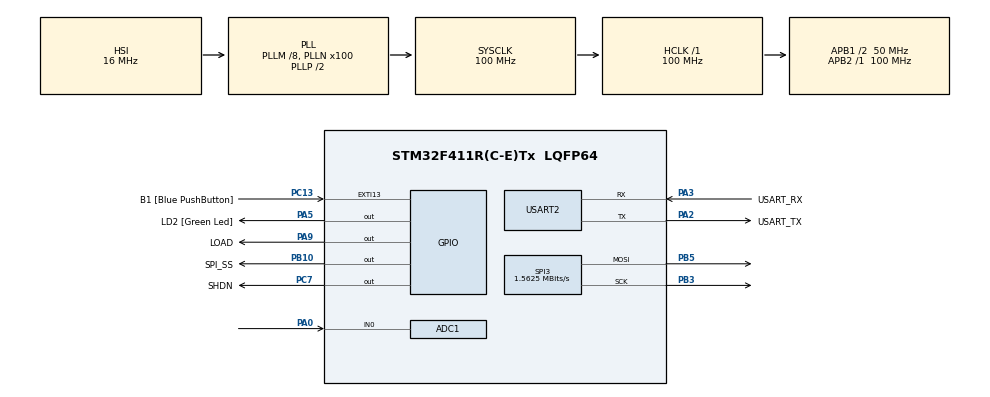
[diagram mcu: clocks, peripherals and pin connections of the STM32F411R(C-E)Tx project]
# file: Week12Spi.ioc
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ADC1.Channel-0\#ChannelRegularConversion=ADC_CHANNEL_0
ADC1.ContinuousConvMode=DISABLE
ADC1.DMAContinuousRequests=ENABLE
ADC1.DiscontinuousConvMode=DISABLE
ADC1.EOCSelection=ADC_EOC_SEQ_CONV
ADC1.ExternalTrigConv=ADC_EXTERNALTRIGCONV_T3_TRGO
ADC1.InjNumberOfConversion=0
ADC1.NbrOfConversion=1
ADC1.NbrOfConversionFlag=1
ADC1.Rank-0\#ChannelRegularConversion=1
ADC1.SamplingTime-0\#ChannelRegularConversion=ADC_SAMPLETIME_3CYCLES
ADC1.ScanConvMode=ENABLE
ADC1.master=1
Dma.ADC1.0.Direction=DMA_PERIPH_TO_MEMORY
Dma.ADC1.0.FIFOMode=DMA_FIFOMODE_DISABLE
Dma.ADC1.0.Instance=DMA2_Stream0
Dma.ADC1.0.MemDataAlignment=DMA_MDATAALIGN_HALFWORD
Dma.ADC1.0.MemInc=DMA_MINC_ENABLE
Dma.ADC1.0.Mode=DMA_CIRCULAR
Dma.ADC1.0.PeriphDataAlignment=DMA_PDATAALIGN_HALFWORD
Dma.ADC1.0.PeriphInc=DMA_PINC_DISABLE
Dma.ADC1.0.Priority=DMA_PRIORITY_LOW
Dma.Request0=ADC1
Mcu.Family=STM32F4
Mcu.Name=STM32F411R(C-E)Tx
Mcu.Package=LQFP64
NVIC.ADC_IRQn=true\:0\:0\:false\:false\:true\:true\:true
NVIC.DMA2_Stream0_IRQn=true\:0\:0\:false\:false\:true\:false\:true
NVIC.PriorityGroup=NVIC_PRIORITYGROUP_0
NVIC.SPI3_IRQn=true\:0\:0\:false\:false\:true\:true\:true
NVIC.TIM1_TRG_COM_TIM11_IRQn=true\:0\:0\:false\:false\:true\:true\:true
PA0-WKUP.Signal=ADCx_IN0
PA13.GPIO_Label=TMS
PA13.Mode=Serial_Wire
PA13.Signal=SYS_JTMS-SWDIO
PA14.GPIO_Label=TCK
PA14.Mode=Serial_Wire
PA14.Signal=SYS_JTCK-SWCLK
PA2.GPIO_Label=USART_TX
PA2.Mode=Asynchronous
PA2.Signal=USART2_TX
PA3.GPIO_Label=USART_RX
PA3.Mode=Asynchronous
PA3.Signal=USART2_RX
PA5.GPIO_Label=LD2 [Green Led]
PA5.Signal=GPIO_Output
PA9.GPIO_Label=LOAD
PA9.PinState=GPIO_PIN_SET
PA9.Signal=GPIO_Output
PB10.GPIO_Label=SPI_SS
PB10.PinState=GPIO_PIN_SET
PB10.Signal=GPIO_Output
PB3.Mode=TX_Only_Simplex_Unidirect_Master
PB3.Signal=SPI3_SCK
PB5.Mode=TX_Only_Simplex_Unidirect_Master
PB5.Signal=SPI3_MOSI
PC13-ANTI_TAMP.GPIO_Label=B1 [Blue PushButton]
PC13-ANTI_TAMP.GPIO_ModeDefaultEXTI=GPIO_MODE_IT_FALLING
PC13-ANTI_TAMP.Signal=GPXTI13
PC14-OSC32_IN.Mode=LSE-External-Oscillator
PC14-OSC32_IN.Signal=RCC_OSC32_IN
PC15-OSC32_OUT.Mode=LSE-External-Oscillator
PC15-OSC32_OUT.Signal=RCC_OSC32_OUT
PC7.GPIO_Label=SHDN
PC7.PinState=GPIO_PIN_SET
PC7.Signal=GPIO_Output
PH0\ -\ OSC_IN.Mode=HSE-External-Clock-Source
PH0\ -\ OSC_IN.Signal=RCC_OSC_IN
PH1\ -\ OSC_OUT.Mode=HSE-External-Clock-Source
PH1\ -\ OSC_OUT.Signal=RCC_OSC_OUT
ProjectManager.HeapSize=0x200
ProjectManager.StackSize=0x400
ProjectManager.TargetToolchain=STM32CubeIDE
RCC.48MHZClocksFreq_Value=50000000
RCC.AHBFreq_Value=100000000
RCC.APB1CLKDivider=RCC_HCLK_DIV2
RCC.APB1Freq_Value=50000000
RCC.APB1TimFreq_Value=100000000
RCC.APB2Freq_Value=100000000
RCC.APB2TimFreq_Value=100000000
RCC.CortexFreq_Value=100000000
RCC.FLatency-AdvancedSettings=FLASH_LATENCY_3
RCC.HCLKFreq_Value=100000000
RCC.HSE_VALUE=8000000
RCC.HSI_VALUE=16000000
RCC.PLLM=8
RCC.PLLN=100
RCC.SYSCLKFreq_VALUE=100000000
RCC.SYSCLKSource=RCC_SYSCLKSOURCE_PLLCLK
RCC.VCOOutputFreq_Value=200000000
SH.ADCx_IN0.0=ADC1_IN0,IN0
SPI3.BaudRatePrescaler=SPI_BAUDRATEPRESCALER_32
SPI3.CLKPolarity=SPI_POLARITY_LOW
SPI3.CalculateBaudRate=1.5625 MBits/s
SPI3.DataSize=SPI_DATASIZE_16BIT
SPI3.Direction=SPI_DIRECTION_2LINES
SPI3.Mode=SPI_MODE_MASTER
SPI3.VirtualType=VM_MASTER
TIM11.Prescaler=100
TIM3.Period=99
TIM3.Prescaler=99
TIM3.TIM_MasterOutputTrigger=TIM_TRGO_UPDATE
USART2.VirtualMode=VM_ASYNC
VP_TIM11_VS_ClockSourceINT.Mode=Enable_Timer
VP_TIM3_VS_ClockSourceINT.Mode=Internal
board=NUCLEO-F411RE

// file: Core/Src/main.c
/* USER CODE BEGIN Header */
/**
 ******************************************************************************
 * @file           : main.c
 * @brief          : Main program body
 ******************************************************************************
 * @attention
 *
 * <h2><center>&copy; Copyright (c) 2021 STMicroelectronics.
 * All rights reserved.</center></h2>
 *
 * This software component is licensed by ST under BSD 3-Clause license,
 * the "License"; You may not use this file except in compliance with the
 * License. You may obtain a copy of the License at:
 *                        opensource.org/licenses/BSD-3-Clause
 *
 ******************************************************************************
 */
/* USER CODE END Header */
#include "main.h"

/* USER CODE BEGIN Includes */
#include <math.h>
/* USER CODE END Includes */

ADC_HandleTypeDef hadc1;
DMA_HandleTypeDef hdma_adc1;

SPI_HandleTypeDef hspi3;

TIM_HandleTypeDef htim3;
TIM_HandleTypeDef htim11;

UART_HandleTypeDef huart2;

/* USER CODE BEGIN PV */
uint16_t ADCin = 0;
uint64_t _micro = 0;
uint16_t dataOut = 0;
uint8_t DACConfig = 0b0011;
float V_high = 3.3;
float V_low = 0;
double f = 1;
float unwrap = 0;
float signal = 0;
double total_time = 0;
uint32_t period = 0;
/* USER CODE END PV */

void SystemClock_Config(void);
static void MX_GPIO_Init(void);
static void MX_DMA_Init(void);
static void MX_USART2_UART_Init(void);
static void MX_SPI3_Init(void);
static void MX_ADC1_Init(void);
static void MX_TIM3_Init(void);
static void MX_TIM11_Init(void);
/* USER CODE BEGIN PFP */
void MCP4922Setup();
void MCP4922SetOutput(uint8_t Config, uint16_t DACOutput);
uint64_t micros();
/* USER CODE END PFP */

int main(void)
{

  /* MCU Configuration--------------------------------------------------------*/

  /* Reset of all peripherals, Initializes the Flash interface and the Systick. */
  HAL_Init();

  /* Configure the system clock */
  SystemClock_Config();

  /* Initialize all configured peripherals */
  MX_GPIO_Init();
  MX_DMA_Init();
  MX_USART2_UART_Init();
  MX_SPI3_Init();
  MX_ADC1_Init();
  MX_TIM3_Init();
  MX_TIM11_Init();
  /* USER CODE BEGIN 2 */
	HAL_TIM_Base_Start(&htim3);
	HAL_TIM_Base_Start_IT(&htim11);
	HAL_ADC_Start_DMA(&hadc1, (uint32_t*) &ADCin, 1);

	HAL_GPIO_WritePin(LOAD_GPIO_Port, LOAD_Pin, GPIO_PIN_RESET);
	if (hspi3.State == HAL_SPI_STATE_READY
						&& HAL_GPIO_ReadPin(SPI_SS_GPIO_Port, SPI_SS_Pin)
								== GPIO_PIN_SET) {
					MCP4922SetOutput(DACConfig,
							4095);
				}
  /* USER CODE END 2 */

  /* Infinite loop */
  /* USER CODE BEGIN WHILE */
	while (1) {
		static uint64_t timestamp = 0;
		if (micros() - timestamp > 100) {
			timestamp = micros();
			//saw tooth
			/*dataOut = (uint16_t)((f*(V_high-V_low)*(HAL_GetTick()-period)/1000.0)*4095/3.3);
			if((HAL_GetTick()-period)>=1000.0/f){
				period = HAL_GetTick();
			}
			 if (hspi3.State == HAL_SPI_STATE_READY
			 && HAL_GPIO_ReadPin(SPI_SS_GPIO_Port, SPI_SS_Pin)
			 == GPIO_PIN_SET)
			 {
			 MCP4922SetOutput(DACConfig, dataOut+(uint16_t)(V_low*4095/3.3));
			 }*/
			//sine wave
			dataOut = (uint16_t)((((V_high-V_low)/2*sin(2*M_PI*f*(HAL_GetTick()-period)/1000.0))+V_low+1.65)*4095/3.3);
			if((HAL_GetTick()-period)>=1000.0/f){
				period = HAL_GetTick();
			}
			/*if (hspi3.State == HAL_SPI_STATE_READY
					&& HAL_GPIO_ReadPin(SPI_SS_GPIO_Port, SPI_SS_Pin)
							== GPIO_PIN_SET) {
				MCP4922SetOutput(DACConfig,
						4095);
			}*/
		}
    /* USER CODE END WHILE */

	}
}

void SystemClock_Config(void)
{
  RCC_OscInitTypeDef RCC_OscInitStruct = {0};
  RCC_ClkInitTypeDef RCC_ClkInitStruct = {0};

  /** Configure the main internal regulator output voltage
  */
  __HAL_RCC_PWR_CLK_ENABLE();
  __HAL_PWR_VOLTAGESCALING_CONFIG(PWR_REGULATOR_VOLTAGE_SCALE1);
  /** Initializes the RCC Oscillators according to the specified parameters
  * in the RCC_OscInitTypeDef structure.
  */
  RCC_OscInitStruct.OscillatorType = RCC_OSCILLATORTYPE_HSI;
  RCC_OscInitStruct.HSIState = RCC_HSI_ON;
  RCC_OscInitStruct.HSICalibrationValue = RCC_HSICALIBRATION_DEFAULT;
  RCC_OscInitStruct.PLL.PLLState = RCC_PLL_ON;
  RCC_OscInitStruct.PLL.PLLSource = RCC_PLLSOURCE_HSI;
  RCC_OscInitStruct.PLL.PLLM = 8;
  RCC_OscInitStruct.PLL.PLLN = 100;
  RCC_OscInitStruct.PLL.PLLP = RCC_PLLP_DIV2;
  RCC_OscInitStruct.PLL.PLLQ = 4;
  if (HAL_RCC_OscConfig(&RCC_OscInitStruct) != HAL_OK)
  {
    Error_Handler();
  }
  /** Initializes the CPU, AHB and APB buses clocks
  */
  RCC_ClkInitStruct.ClockType = RCC_CLOCKTYPE_HCLK|RCC_CLOCKTYPE_SYSCLK
                              |RCC_CLOCKTYPE_PCLK1|RCC_CLOCKTYPE_PCLK2;
  RCC_ClkInitStruct.SYSCLKSource = RCC_SYSCLKSOURCE_PLLCLK;
  RCC_ClkInitStruct.AHBCLKDivider = RCC_SYSCLK_DIV1;
  RCC_ClkInitStruct.APB1CLKDivider = RCC_HCLK_DIV2;
  RCC_ClkInitStruct.APB2CLKDivider = RCC_HCLK_DIV1;

  if (HAL_RCC_ClockConfig(&RCC_ClkInitStruct, FLASH_LATENCY_3) != HAL_OK)
  {
    Error_Handler();
  }
}

static void MX_ADC1_Init(void)
{

  ADC_ChannelConfTypeDef sConfig = {0};

  /** Configure the global features of the ADC (Clock, Resolution, Data Alignment and number of conversion)
  */
  hadc1.Instance = ADC1;
  hadc1.Init.ClockPrescaler = ADC_CLOCK_SYNC_PCLK_DIV4;
  hadc1.Init.Resolution = ADC_RESOLUTION_12B;
  hadc1.Init.ScanConvMode = ENABLE;
  hadc1.Init.ContinuousConvMode = DISABLE;
  hadc1.Init.DiscontinuousConvMode = DISABLE;
  hadc1.Init.ExternalTrigConvEdge = ADC_EXTERNALTRIGCONVEDGE_RISING;
  hadc1.Init.ExternalTrigConv = ADC_EXTERNALTRIGCONV_T3_TRGO;
  hadc1.Init.DataAlign = ADC_DATAALIGN_RIGHT;
  hadc1.Init.NbrOfConversion = 1;
  hadc1.Init.DMAContinuousRequests = ENABLE;
  hadc1.Init.EOCSelection = ADC_EOC_SEQ_CONV;
  if (HAL_ADC_Init(&hadc1) != HAL_OK)
  {
    Error_Handler();
  }
  /** Configure for the selected ADC regular channel its corresponding rank in the sequencer and its sample time.
  */
  sConfig.Channel = ADC_CHANNEL_0;
  sConfig.Rank = 1;
  sConfig.SamplingTime = ADC_SAMPLETIME_3CYCLES;
  if (HAL_ADC_ConfigChannel(&hadc1, &sConfig) != HAL_OK)
  {
    Error_Handler();
  }

}

static void MX_SPI3_Init(void)
{

  /* SPI3 parameter configuration*/
  hspi3.Instance = SPI3;
  hspi3.Init.Mode = SPI_MODE_MASTER;
  hspi3.Init.Direction = SPI_DIRECTION_2LINES;
  hspi3.Init.DataSize = SPI_DATASIZE_16BIT;
  hspi3.Init.CLKPolarity = SPI_POLARITY_LOW;
  hspi3.Init.CLKPhase = SPI_PHASE_1EDGE;
  hspi3.Init.NSS = SPI_NSS_SOFT;
  hspi3.Init.BaudRatePrescaler = SPI_BAUDRATEPRESCALER_32;
  hspi3.Init.FirstBit = SPI_FIRSTBIT_MSB;
  hspi3.Init.TIMode = SPI_TIMODE_DISABLE;
  hspi3.Init.CRCCalculation = SPI_CRCCALCULATION_DISABLE;
  hspi3.Init.CRCPolynomial = 10;
  if (HAL_SPI_Init(&hspi3) != HAL_OK)
  {
    Error_Handler();
  }

}

static void MX_TIM3_Init(void)
{

  TIM_ClockConfigTypeDef sClockSourceConfig = {0};
  TIM_MasterConfigTypeDef sMasterConfig = {0};

  htim3.Instance = TIM3;
  htim3.Init.Prescaler = 99;
  htim3.Init.CounterMode = TIM_COUNTERMODE_UP;
  htim3.Init.Period = 99;
  htim3.Init.ClockDivision = TIM_CLOCKDIVISION_DIV1;
  htim3.Init.AutoReloadPreload = TIM_AUTORELOAD_PRELOAD_DISABLE;
  if (HAL_TIM_Base_Init(&htim3) != HAL_OK)
  {
    Error_Handler();
  }
  sClockSourceConfig.ClockSource = TIM_CLOCKSOURCE_INTERNAL;
  if (HAL_TIM_ConfigClockSource(&htim3, &sClockSourceConfig) != HAL_OK)
  {
    Error_Handler();
  }
  sMasterConfig.MasterOutputTrigger = TIM_TRGO_UPDATE;
  sMasterConfig.MasterSlaveMode = TIM_MASTERSLAVEMODE_DISABLE;
  if (HAL_TIMEx_MasterConfigSynchronization(&htim3, &sMasterConfig) != HAL_OK)
  {
    Error_Handler();
  }

}

static void MX_TIM11_Init(void)
{

  htim11.Instance = TIM11;
  htim11.Init.Prescaler = 100;
  htim11.Init.CounterMode = TIM_COUNTERMODE_UP;
  htim11.Init.Period = 65535;
  htim11.Init.ClockDivision = TIM_CLOCKDIVISION_DIV1;
  htim11.Init.AutoReloadPreload = TIM_AUTORELOAD_PRELOAD_DISABLE;
  if (HAL_TIM_Base_Init(&htim11) != HAL_OK)
  {
    Error_Handler();
  }

}

static void MX_USART2_UART_Init(void)
{

  huart2.Instance = USART2;
  huart2.Init.BaudRate = 115200;
  huart2.Init.WordLength = UART_WORDLENGTH_8B;
  huart2.Init.StopBits = UART_STOPBITS_1;
  huart2.Init.Parity = UART_PARITY_NONE;
  huart2.Init.Mode = UART_MODE_TX_RX;
  huart2.Init.HwFlowCtl = UART_HWCONTROL_NONE;
  huart2.Init.OverSampling = UART_OVERSAMPLING_16;
  if (HAL_UART_Init(&huart2) != HAL_OK)
  {
    Error_Handler();
  }

}

static void MX_DMA_Init(void)
{

  /* DMA controller clock enable */
  __HAL_RCC_DMA2_CLK_ENABLE();

  /* DMA interrupt init */
  /* DMA2_Stream0_IRQn interrupt configuration */
  HAL_NVIC_SetPriority(DMA2_Stream0_IRQn, 0, 0);
  HAL_NVIC_EnableIRQ(DMA2_Stream0_IRQn);

}

static void MX_GPIO_Init(void)
{
  GPIO_InitTypeDef GPIO_InitStruct = {0};

  /* GPIO Ports Clock Enable */
  __HAL_RCC_GPIOC_CLK_ENABLE();
  __HAL_RCC_GPIOH_CLK_ENABLE();
  __HAL_RCC_GPIOA_CLK_ENABLE();
  __HAL_RCC_GPIOB_CLK_ENABLE();

  /*Configure GPIO pin Output Level */
  HAL_GPIO_WritePin(LD2_GPIO_Port, LD2_Pin, GPIO_PIN_RESET);

  /*Configure GPIO pin Output Level */
  HAL_GPIO_WritePin(SPI_SS_GPIO_Port, SPI_SS_Pin, GPIO_PIN_SET);

  /*Configure GPIO pin Output Level */
  HAL_GPIO_WritePin(SHDN_GPIO_Port, SHDN_Pin, GPIO_PIN_SET);

  /*Configure GPIO pin Output Level */
  HAL_GPIO_WritePin(LOAD_GPIO_Port, LOAD_Pin, GPIO_PIN_SET);

  /*Configure GPIO pin : B1_Pin */
  GPIO_InitStruct.Pin = B1_Pin;
  GPIO_InitStruct.Mode = GPIO_MODE_IT_FALLING;
  GPIO_InitStruct.Pull = GPIO_NOPULL;
  HAL_GPIO_Init(B1_GPIO_Port, &GPIO_InitStruct);

  /*Configure GPIO pins : LD2_Pin LOAD_Pin */
  GPIO_InitStruct.Pin = LD2_Pin|LOAD_Pin;
  GPIO_InitStruct.Mode = GPIO_MODE_OUTPUT_PP;
  GPIO_InitStruct.Pull = GPIO_NOPULL;
  GPIO_InitStruct.Speed = GPIO_SPEED_FREQ_LOW;
  HAL_GPIO_Init(GPIOA, &GPIO_InitStruct);

  /*Configure GPIO pin : SPI_SS_Pin */
  GPIO_InitStruct.Pin = SPI_SS_Pin;
  GPIO_InitStruct.Mode = GPIO_MODE_OUTPUT_PP;
  GPIO_InitStruct.Pull = GPIO_NOPULL;
  GPIO_InitStruct.Speed = GPIO_SPEED_FREQ_LOW;
  HAL_GPIO_Init(SPI_SS_GPIO_Port, &GPIO_InitStruct);

  /*Configure GPIO pin : SHDN_Pin */
  GPIO_InitStruct.Pin = SHDN_Pin;
  GPIO_InitStruct.Mode = GPIO_MODE_OUTPUT_PP;
  GPIO_InitStruct.Pull = GPIO_NOPULL;
  GPIO_InitStruct.Speed = GPIO_SPEED_FREQ_LOW;
  HAL_GPIO_Init(SHDN_GPIO_Port, &GPIO_InitStruct);

}

/* USER CODE BEGIN 4 */
void MCP4922SetOutput(uint8_t Config, uint16_t DACOutput) {
	uint32_t OutputPacket = (DACOutput & 0x0fff) | ((Config & 0xf) << 12);
	HAL_GPIO_WritePin(SPI_SS_GPIO_Port, SPI_SS_Pin, GPIO_PIN_RESET);
	HAL_SPI_Transmit_IT(&hspi3, &OutputPacket, 1);
}

void HAL_SPI_TxCpltCallback(SPI_HandleTypeDef *hspi) {
	if (hspi == &hspi3) {
		HAL_GPIO_WritePin(SPI_SS_GPIO_Port, SPI_SS_Pin, GPIO_PIN_SET);
	}
}

void HAL_TIM_PeriodElapsedCallback(TIM_HandleTypeDef *htim) {
	if (htim == &htim11) {
		_micro += 65535;
	}
}

inline uint64_t micros() {
	return htim11.Instance->CNT + _micro;
}
/* USER CODE END 4 */

void Error_Handler(void)
{
	__disable_irq();
	while (1) {
	}
}
